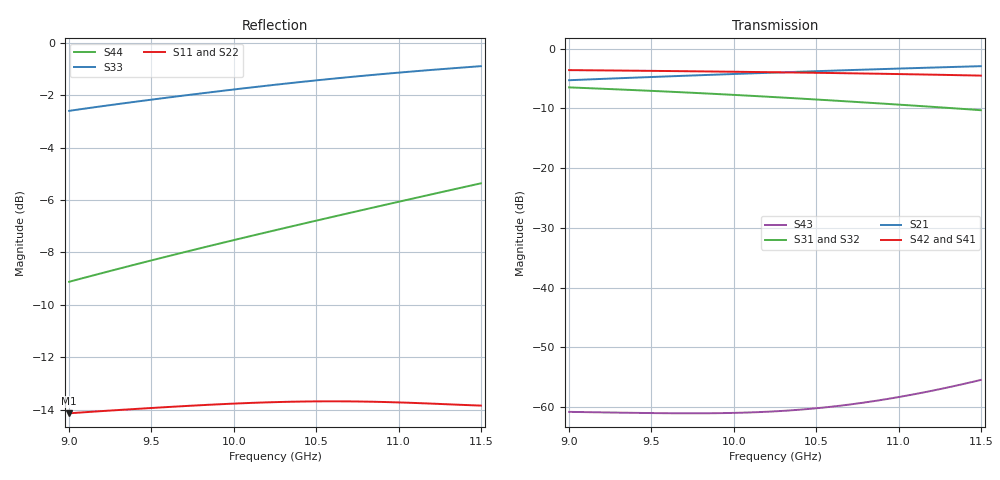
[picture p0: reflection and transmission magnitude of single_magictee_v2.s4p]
! Touchstone file exported from HFSS 2025.2.4
!  File:  C:/Users/chaoy/Documents/single_magictee_v2_stageA/g2_4p60mm_lt_4p50mm/single_magictee_v2.aedt
!  Generated:  02:54:34 PM Sep 19, 2026
!  Design:  SingleMagicT_v2
!  Project:  single_magictee_v2
! Variables:
!  f_adapt = 10.2GHz
!  ridge_g1 = 7.672mm
!  ridge_g2 = 4.6mm
!  ridge_l1 = 9.872mm
!  ridge_l2 = 8.857mm
!  ridge_w = 4.572mm
!  terminal_ridge_len = 4.5mm
!  wg_a = 22.86mm
!  wg_b = 10.16mm
!Data is not renormalized
# GHz S MA
! Terminal data exported
! Port[1] = P1_CollinearMinusX
! Port[2] = P2_CollinearPlusX
! Port[3] = P3_HArm_Ridged
! Port[4] = P4_EArm
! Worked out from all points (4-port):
!   101 points, 9 GHz to 11.5 GHz, reference per port
!   strongest paths, dB at 9 GHz, 9.625 GHz, 10.25 GHz, 10.88 GHz, 11.5 GHz:
!     S42: -3.6, -3.7, -3.9, -4.2, -4.5
!     S41: -3.6, -3.7, -3.9, -4.2, -4.5
!     S21: -5.3, -4.6, -4.0, -3.4, -2.9
!     S31: -6.5, -7.2, -8.1, -9.1, -10.3
!     S32: -6.5, -7.2, -8.1, -9.2, -10.3
!     S43: -60.8, -61.0, -60.7, -58.9, -55.4
!   lowest |S11| = -14.1 dB at 9 GHz (marker M1), VSWR 1.49
!   |S11| at or under -10 dB: start of sweep to end of sweep
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9  0.1964 -150.9  0.5452 -156.7  0.4749 112.5  0.6623 45.3
   0.5452 -156.7  0.1974 -150.8  0.4743 112.4  0.6625 -134.8
   0.4749 112.5  0.4743 112.4  0.7413 -160.0  0.0009122 -66.7
   0.6623 45.3  0.6625 -134.8  0.0009122 -66.7  0.3499 -109.6
9.45  0.2006 161.8  0.5766 151.3  0.4472 59.4  0.6537 -6.0
      0.5766 151.3  0.2012 161.8  0.4465 59.3  0.654 174.0
      0.4472 59.4  0.4465 59.3  0.775 144.8  0.0008931 -120.5
      0.6537 -6.0  0.654 174.0  0.0008931 -120.5  0.3809 -157.8
10  0.2049 105.6  0.6146 90.4  0.4109 -3.6  0.6414 -66.1
    0.6146 90.4  0.2051 105.6  0.41 -3.7  0.6419 113.9
    0.4109 -3.6  0.41 -3.7  0.8143 78.4  0.0008945 -179.9
    0.6414 -66.1  0.6419 113.9  0.0008945 -179.9  0.4202 144.6
10.4  0.2067 65.4  0.6421 47.5  0.383 -48.5  0.6312 -108.6
      0.6421 47.5  0.2067 65.5  0.382 -48.6  0.6318 71.4
      0.383 -48.5  0.382 -48.6  0.8411 31.1  0.0009513 141.0
      0.6312 -108.6  0.6318 71.4  0.0009513 141.0  0.45 103.5
10.725  0.2069 33.2  0.664 13.1  0.36 -84.4  0.6218 -142.6
        0.664 13.1  0.2067 33.2  0.3589 -84.5  0.6225 37.4
        0.36 -84.4  0.3589 -84.5  0.8612 -6.8  0.001061 110.3
        0.6218 -142.6  0.6225 37.4  0.001061 110.3  0.4751 70.3
11.15  0.2052 -8.2  0.6922 -31.1  0.3302 -131.1  0.6081 173.5
       0.6922 -31.1  0.2051 -8.2  0.329 -131.1  0.6088 -6.5
       0.3302 -131.1  0.329 -131.1  0.8847 -56.3  0.001325 69.4
       0.6081 173.5  0.6088 -6.5  0.001325 69.4  0.5095 27.2
11.5  0.2031 -41.3  0.7148 -67.2  0.3059 -169.7  0.5952 137.6
      0.7148 -67.2  0.2032 -41.4  0.3045 -169.8  0.5959 -42.4
      0.3059 -169.7  0.3045 -169.8  0.9021 -97.9  0.001689 34.0
      0.5952 137.6  0.5959 -42.4  0.001689 34.0  0.5392 -8.2
